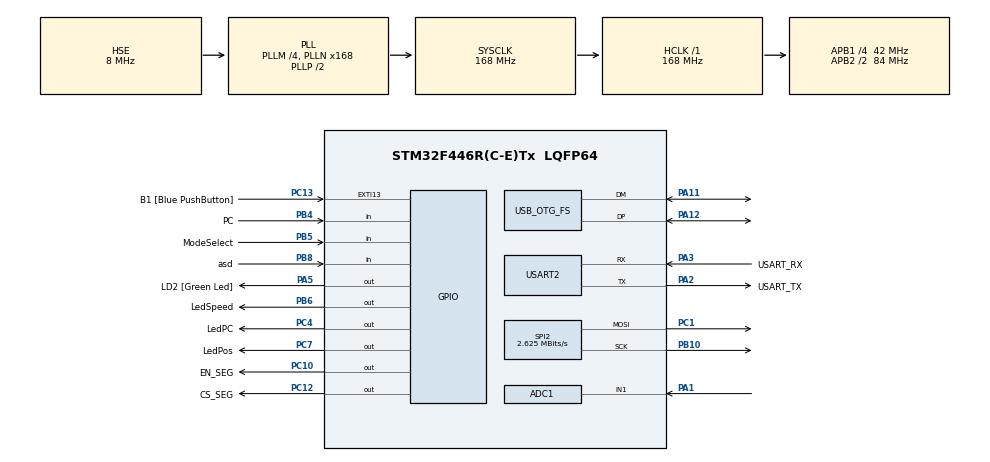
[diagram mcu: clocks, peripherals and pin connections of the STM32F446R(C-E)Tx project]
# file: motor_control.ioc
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ADC1.Channel-0\#ChannelRegularConversion=ADC_CHANNEL_1
ADC1.NbrOfConversionFlag=1
ADC1.Rank-0\#ChannelRegularConversion=1
ADC1.SamplingTime-0\#ChannelRegularConversion=ADC_SAMPLETIME_3CYCLES
ADC1.master=1
Mcu.Family=STM32F4
Mcu.Name=STM32F446R(C-E)Tx
Mcu.Package=LQFP64
NVIC.OTG_FS_IRQn=true\:0\:0\:false\:false\:true\:true\:true\:true
NVIC.PriorityGroup=NVIC_PRIORITYGROUP_4
NVIC.SPI2_IRQn=true\:0\:0\:false\:false\:true\:true\:true\:true
NVIC.USART2_IRQn=true\:0\:0\:false\:false\:true\:true\:true\:true
PA1.Signal=ADCx_IN1
PA11.Mode=Device_Only
PA11.Signal=USB_OTG_FS_DM
PA12.Mode=Device_Only
PA12.Signal=USB_OTG_FS_DP
PA13.GPIO_Label=TMS
PA13.Mode=Serial_Wire
PA13.Signal=SYS_JTMS-SWDIO
PA14.GPIO_Label=TCK
PA14.Mode=Serial_Wire
PA14.Signal=SYS_JTCK-SWCLK
PA2.GPIO_Label=USART_TX
PA2.Mode=Asynchronous
PA2.Signal=USART2_TX
PA3.GPIO_Label=USART_RX
PA3.Mode=Asynchronous
PA3.Signal=USART2_RX
PA5.GPIO_Label=LD2 [Green Led]
PA5.Signal=GPIO_Output
PB10.Mode=TX_Only_Simplex_Unidirect_Master
PB10.Signal=SPI2_SCK
PB3.GPIO_Label=SWO
PB3.Signal=SYS_JTDO-SWO
PB4.GPIO_Label=PC
PB4.Signal=GPIO_Input
PB5.GPIO_Label=ModeSelect
PB5.Signal=GPIO_Input
PB6.GPIO_Label=LedSpeed
PB6.Signal=GPIO_Output
PB8.GPIO_Label=asd
PB8.Signal=GPIO_Input
PC1.Mode=TX_Only_Simplex_Unidirect_Master
PC1.Signal=SPI2_MOSI
PC10.GPIO_Label=EN_SEG
PC10.PinState=GPIO_PIN_SET
PC10.Signal=GPIO_Output
PC12.GPIO_Label=CS_SEG
PC12.Signal=GPIO_Output
PC13.GPIO_Label=B1 [Blue PushButton]
PC13.GPIO_ModeDefaultEXTI=GPIO_MODE_IT_FALLING
PC13.Signal=GPXTI13
PC14-OSC32_IN.Mode=LSE-External-Oscillator
PC14-OSC32_IN.Signal=RCC_OSC32_IN
PC15-OSC32_OUT.Mode=LSE-External-Oscillator
PC15-OSC32_OUT.Signal=RCC_OSC32_OUT
PC4.GPIO_Label=LedPC
PC4.Signal=GPIO_Output
PC7.GPIO_Label=LedPos
PC7.Signal=GPIO_Output
PH0-OSC_IN.Mode=HSE-External-Oscillator
PH0-OSC_IN.Signal=RCC_OSC_IN
PH1-OSC_OUT.Mode=HSE-External-Oscillator
PH1-OSC_OUT.Signal=RCC_OSC_OUT
ProjectManager.HeapSize=0x200
ProjectManager.StackSize=0x400
ProjectManager.TargetToolchain=STM32CubeIDE
RCC.48MHZClocksFreq_Value=84000000
RCC.AHBFreq_Value=168000000
RCC.APB1CLKDivider=RCC_HCLK_DIV4
RCC.APB1Freq_Value=42000000
RCC.APB1TimFreq_Value=84000000
RCC.APB2CLKDivider=RCC_HCLK_DIV2
RCC.APB2Freq_Value=84000000
RCC.APB2TimFreq_Value=168000000
RCC.CortexFreq_Value=168000000
RCC.FLatency-AdvancedSettings=FLASH_LATENCY_5
RCC.HCLKFreq_Value=168000000
RCC.HSE_VALUE=8000000
RCC.HSI_VALUE=16000000
RCC.PLLM=4
RCC.PLLN=168
RCC.PLLQ=7
RCC.PLLSourceVirtual=RCC_PLLSOURCE_HSE
RCC.SYSCLKFreq_VALUE=168000000
RCC.SYSCLKSource=RCC_SYSCLKSOURCE_PLLCLK
RCC.USBFreq_Value=48000000
RCC.VCOOutputFreq_Value=336000000
SH.ADCx_IN1.0=ADC1_IN1,IN1
SPI2.BaudRatePrescaler=SPI_BAUDRATEPRESCALER_16
SPI2.CLKPolarity=SPI_POLARITY_LOW
SPI2.CalculateBaudRate=2.625 MBits/s
SPI2.Direction=SPI_DIRECTION_2LINES
SPI2.Mode=SPI_MODE_MASTER
SPI2.VirtualType=VM_MASTER
USART2.VirtualMode=VM_ASYNC
USB_DEVICE.CLASS_NAME_FS=CDC
USB_DEVICE.VirtualMode-CDC_FS=Cdc
USB_DEVICE.VirtualModeFS=Cdc_FS
USB_OTG_FS.VirtualMode=Device_Only
VP_TIM10_VS_ClockSourceINT.Mode=Enable_Timer
VP_USB_DEVICE_VS_USB_DEVICE_CDC_FS.Mode=CDC_FS
board=NUCLEO-F446RE

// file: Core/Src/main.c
/* USER CODE BEGIN Header */
/**
  ******************************************************************************
  * @file           : main.c
  * @brief          : Main program body
  ******************************************************************************
  * @attention
  *
  * Copyright (c) 2023 STMicroelectronics.
  * All rights reserved.
  *
  * This software is licensed under terms that can be found in the LICENSE file
  * in the root directory of this software component.
  * If no LICENSE file comes with this software, it is provided AS-IS.
  *
  ******************************************************************************
  */
/* USER CODE END Header */
#include "main.h"
#include "adc.h"
#include "spi.h"
#include "tim.h"
#include "usart.h"
#include "usb_device.h"
#include "gpio.h"

/* USER CODE BEGIN Includes */
#include "usbd_cdc_if.h"
#include <string.h>

/* USER CODE END Includes */

/* USER CODE BEGIN PV */
char *data = "Hello World\n";
uint8_t buffer[64];
/* USER CODE END PV */

void SystemClock_Config(void);

int main(void)
{

  /* MCU Configuration--------------------------------------------------------*/

  /* Reset of all peripherals, Initializes the Flash interface and the Systick. */
  HAL_Init();

  /* Configure the system clock */
  SystemClock_Config();

  /* Initialize all configured peripherals */
  MX_GPIO_Init();
  MX_USART2_UART_Init();
  MX_SPI2_Init();
  MX_ADC1_Init();
  MX_TIM10_Init();
  //MX_USB_DEVICE_Init();
  /* USER CODE BEGIN 2 */
  //CDC_Init_FS();
  //InitAF();
  InitMotorPWM();
  InitEncoder();
  CharacteristicInit();
  PIDInit();
 // SetPWM(900);
//  SetPWM(1000);
//  SetPWM(0);

  InitTimer();

  HAL_GPIO_WritePin(GPIOB, GPIO_PIN_6, GPIO_PIN_SET);
  HAL_GPIO_WritePin(GPIOC, GPIO_PIN_4, GPIO_PIN_SET);
  HAL_GPIO_WritePin(GPIOC, GPIO_PIN_7, GPIO_PIN_RESET);
  EnableDisplays(true);

  /* USER CODE END 2 */

  /* Infinite loop */
  /* USER CODE BEGIN WHILE */
  while (1)
  {
	  if(hasNewMessage())
	  {
		   ProcessReceivedData(rxBuffer, msg_length);
	  }
    /* USER CODE END WHILE */

  }
}

void SystemClock_Config(void)
{
  RCC_OscInitTypeDef RCC_OscInitStruct = {0};
  RCC_ClkInitTypeDef RCC_ClkInitStruct = {0};

  /** Configure the main internal regulator output voltage
  */
  __HAL_RCC_PWR_CLK_ENABLE();
  __HAL_PWR_VOLTAGESCALING_CONFIG(PWR_REGULATOR_VOLTAGE_SCALE1);

  /** Initializes the RCC Oscillators according to the specified parameters
  * in the RCC_OscInitTypeDef structure.
  */
  RCC_OscInitStruct.OscillatorType = RCC_OSCILLATORTYPE_HSE;
  RCC_OscInitStruct.HSEState = RCC_HSE_ON;
  RCC_OscInitStruct.PLL.PLLState = RCC_PLL_ON;
  RCC_OscInitStruct.PLL.PLLSource = RCC_PLLSOURCE_HSE;
  RCC_OscInitStruct.PLL.PLLM = 4;
  RCC_OscInitStruct.PLL.PLLN = 168;
  RCC_OscInitStruct.PLL.PLLP = RCC_PLLP_DIV2;
  RCC_OscInitStruct.PLL.PLLQ = 7;
  RCC_OscInitStruct.PLL.PLLR = 2;
  if (HAL_RCC_OscConfig(&RCC_OscInitStruct) != HAL_OK)
  {
    Error_Handler();
  }

  /** Initializes the CPU, AHB and APB buses clocks
  */
  RCC_ClkInitStruct.ClockType = RCC_CLOCKTYPE_HCLK|RCC_CLOCKTYPE_SYSCLK
                              |RCC_CLOCKTYPE_PCLK1|RCC_CLOCKTYPE_PCLK2;
  RCC_ClkInitStruct.SYSCLKSource = RCC_SYSCLKSOURCE_PLLCLK;
  RCC_ClkInitStruct.AHBCLKDivider = RCC_SYSCLK_DIV1;
  RCC_ClkInitStruct.APB1CLKDivider = RCC_HCLK_DIV4;
  RCC_ClkInitStruct.APB2CLKDivider = RCC_HCLK_DIV2;

  if (HAL_RCC_ClockConfig(&RCC_ClkInitStruct, FLASH_LATENCY_5) != HAL_OK)
  {
    Error_Handler();
  }
}

void Error_Handler(void)
{
  __disable_irq();
  while (1)
  {
  }
}
